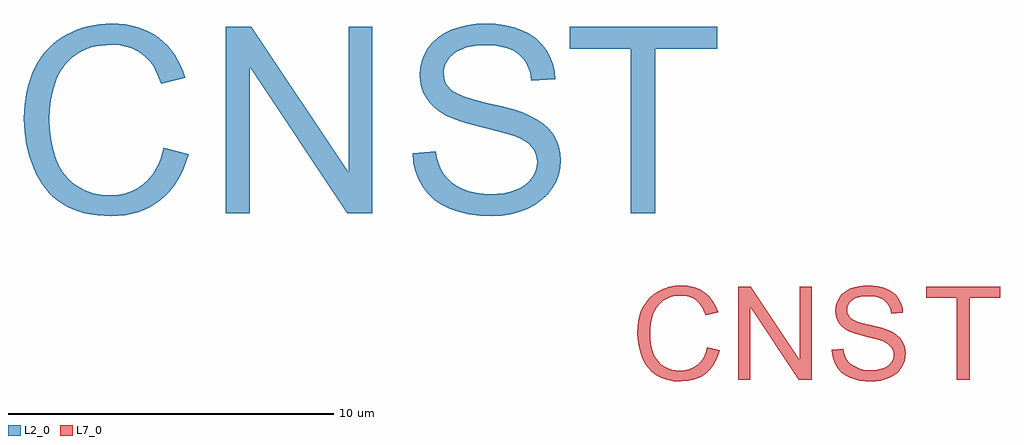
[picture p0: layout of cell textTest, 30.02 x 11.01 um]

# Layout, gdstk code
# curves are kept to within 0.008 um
import gdstk
lib = gdstk.Library(unit=1e-6, precision=1e-09)
def P(c, l, *ps):  # polygons
    for p in ps: c.add(gdstk.Polygon(p, *l))
L2_0 = (2, 0)
L7_0 = (7, 0)

texttest = lib.new_cell('textTest')
P(texttest, L2_0, [(-4.461,1.133),(-4.461,6.867),(-3.68,6.867),(-0.68,2.367),(-0.68,6.867),(0.055,6.867),(0.055,1.133),(-0.727,1.133),(-3.727,5.633),(-3.727,1.133)],
  [(8.008,1.133),(8.008,6.18),(6.117,6.18),(6.117,6.867),(10.664,6.867),(10.664,6.18),(8.758,6.18),(8.758,1.133)],
  [(-7.977,1.039),(-8.202,1.045),(-8.621,1.092),(-8.998,1.186),(-9.333,1.326),(-9.484,1.414),(-9.626,1.513),(-9.883,1.744),(-9.998,1.875),(-10.201,2.17),(-10.367,2.508),(-10.497,2.873),(-10.59,3.25),(-10.646,3.639),(-10.664,4.039),(-10.659,4.258),(-10.617,4.676),(-10.533,5.067),(-10.475,5.252),(-10.407,5.43),(-10.24,5.764),(-10.142,5.917),(-9.918,6.191),(-9.657,6.425),(-9.513,6.526),(-9.359,6.617),(-9.035,6.768),(-8.866,6.827),(-8.516,6.913),(-8.15,6.956),(-7.961,6.961),(-7.548,6.934),(-7.17,6.852),(-6.826,6.715),(-6.666,6.626),(-6.516,6.523),(-6.375,6.408),(-6.246,6.282),(-6.128,6.145),(-6.021,5.996),(-5.843,5.665),(-5.711,5.289),(-6.445,5.117),(-6.558,5.408),(-6.693,5.656),(-6.769,5.764),(-6.938,5.948),(-7.13,6.089),(-7.344,6.195),(-7.459,6.234),(-7.707,6.287),(-7.977,6.305),(-8.141,6.3),(-8.448,6.261),(-8.725,6.183),(-8.853,6.129),(-9.086,5.992),(-9.191,5.911),(-9.378,5.727),(-9.459,5.625),(-9.597,5.4),(-9.703,5.148),(-9.782,4.88),(-9.838,4.605),(-9.872,4.325),(-9.883,4.039),(-9.87,3.69),(-9.83,3.363),(-9.764,3.058),(-9.672,2.773),(-9.552,2.517),(-9.402,2.295),(-9.224,2.107),(-9.016,1.953),(-8.788,1.833),(-8.549,1.748),(-8.299,1.697),(-8.039,1.68),(-7.882,1.685),(-7.587,1.731),(-7.318,1.823),(-7.073,1.961),(-6.856,2.144),(-6.672,2.374),(-6.524,2.649),(-6.463,2.804),(-6.367,3.148),(-5.602,2.945),(-5.75,2.511),(-5.841,2.314),(-5.943,2.131),(-6.057,1.961),(-6.183,1.804),(-6.32,1.661),(-6.469,1.531),(-6.627,1.416),(-6.794,1.316),(-6.97,1.231),(-7.154,1.162),(-7.347,1.108),(-7.548,1.07)],
  [(3.727,1.039),(3.358,1.053),(3.02,1.096),(2.71,1.167),(2.43,1.266),(2.179,1.393),(1.957,1.549),(1.857,1.637),(1.679,1.836),(1.602,1.945),(1.471,2.18),(1.375,2.43),(1.314,2.695),(1.289,2.977),(2.008,3.039),(2.04,2.831),(2.09,2.643),(2.157,2.475),(2.242,2.328),(2.349,2.198),(2.48,2.08),(2.638,1.975),(2.82,1.883),(3.021,1.808),(3.234,1.754),(3.459,1.722),(3.695,1.711),(3.907,1.719),(4.105,1.744),(4.29,1.786),(4.461,1.844),(4.615,1.916),(4.748,2),(4.861,2.096),(4.953,2.203),(5.025,2.319),(5.076,2.439),(5.107,2.565),(5.117,2.695),(5.107,2.824),(5.078,2.945),(5.029,3.059),(4.961,3.164),(4.87,3.261),(4.754,3.348),(4.612,3.425),(4.445,3.492),(4.072,3.609),(3.057,3.866),(2.752,3.957),(2.506,4.046),(2.32,4.133),(2.13,4.249),(1.965,4.377),(1.825,4.518),(1.711,4.672),(1.622,4.836),(1.559,5.01),(1.521,5.192),(1.508,5.383),(1.523,5.598),(1.57,5.805),(1.648,6.004),(1.758,6.195),(1.896,6.372),(2.063,6.525),(2.256,6.657),(2.477,6.766),(2.718,6.851),(2.973,6.912),(3.241,6.949),(3.523,6.961),(3.834,6.948),(4.125,6.91),(4.396,6.847),(4.648,6.758),(4.877,6.644),(5.078,6.506),(5.252,6.343),(5.398,6.156),(5.516,5.95),(5.602,5.729),(5.656,5.493),(5.68,5.242),(4.945,5.195),(4.903,5.452),(4.824,5.674),(4.771,5.772),(4.636,5.943),(4.555,6.016),(4.363,6.135),(4.133,6.221),(4.003,6.251),(3.863,6.272),(3.555,6.289),(3.234,6.273),(2.961,6.227),(2.734,6.148),(2.555,6.039),(2.418,5.907),(2.32,5.762),(2.286,5.684),(2.247,5.518),(2.242,5.43),(2.256,5.281),(2.297,5.148),(2.365,5.031),(2.527,4.879),(2.614,4.828),(2.855,4.725),(3.185,4.621),(4.379,4.318),(4.659,4.23),(4.867,4.148),(5.101,4.024),(5.303,3.885),(5.472,3.731),(5.609,3.563),(5.715,3.38),(5.791,3.186),(5.836,2.978),(5.852,2.758),(5.835,2.528),(5.785,2.307),(5.702,2.094),(5.586,1.891),(5.439,1.702),(5.266,1.535),(5.064,1.39),(4.836,1.266),(4.585,1.167),(4.316,1.096),(4.03,1.053)])
P(texttest, L7_0, [(11.313,-4),(11.313,-1.141),(11.688,-1.141),(13.203,-3.391),(13.203,-1.141),(13.563,-1.141),(13.563,-4),(13.172,-4),(11.672,-1.75),(11.672,-4)],
  [(18.031,-4),(18.031,-1.469),(17.094,-1.469),(17.094,-1.141),(19.359,-1.141),(19.359,-1.469),(18.422,-1.469),(18.422,-4)],
  [(9.547,-4.047),(9.324,-4.035),(9.123,-4),(8.945,-3.941),(8.789,-3.859),(8.653,-3.755),(8.535,-3.629),(8.435,-3.481),(8.352,-3.312),(8.287,-3.13),(8.24,-2.941),(8.212,-2.747),(8.203,-2.547),(8.214,-2.328),(8.246,-2.125),(8.3,-1.937),(8.375,-1.766),(8.47,-1.611),(8.582,-1.477),(8.712,-1.361),(8.859,-1.266),(9.02,-1.19),(9.188,-1.137),(9.363,-1.104),(9.547,-1.094),(9.756,-1.107),(9.947,-1.148),(10.12,-1.217),(10.273,-1.312),(10.408,-1.433),(10.521,-1.574),(10.615,-1.737),(10.688,-1.922),(10.313,-2.016),(10.253,-1.87),(10.184,-1.744),(10.104,-1.639),(10.016,-1.555),(9.916,-1.49),(9.805,-1.443),(9.682,-1.416),(9.547,-1.406),(9.389,-1.417),(9.244,-1.447),(9.112,-1.499),(8.992,-1.57),(8.888,-1.659),(8.801,-1.76),(8.731,-1.874),(8.68,-2),(8.615,-2.27),(8.594,-2.547),(8.619,-2.885),(8.695,-3.18),(8.754,-3.308),(8.828,-3.418),(8.918,-3.511),(9.023,-3.586),(9.139,-3.644),(9.26,-3.686),(9.385,-3.71),(9.516,-3.719),(9.667,-3.708),(9.807,-3.674),(9.936,-3.618),(10.055,-3.539),(10.159,-3.438),(10.244,-3.314),(10.311,-3.168),(10.359,-3),(10.734,-3.094),(10.661,-3.314),(10.564,-3.506),(10.446,-3.669),(10.305,-3.805),(10.143,-3.911),(9.963,-3.986),(9.764,-4.032)],
  [(15.406,-4.047),(15.047,-4.02),(14.891,-3.985),(14.75,-3.937),(14.625,-3.875),(14.514,-3.797),(14.417,-3.703),(14.336,-3.594),(14.271,-3.474),(14.225,-3.348),(14.197,-3.216),(14.188,-3.078),(14.531,-3.047),(14.578,-3.244),(14.613,-3.327),(14.709,-3.462),(14.775,-3.52),(14.945,-3.617),(15.046,-3.655),(15.269,-3.698),(15.391,-3.703),(15.586,-3.687),(15.766,-3.641),(15.846,-3.606),(15.971,-3.521),(16.05,-3.412),(16.089,-3.287),(16.094,-3.219),(16.074,-3.1),(16.016,-2.992),(15.914,-2.896),(15.766,-2.812),(14.918,-2.582),(14.703,-2.5),(14.516,-2.379),(14.445,-2.31),(14.35,-2.153),(14.303,-1.974),(14.304,-1.768),(14.363,-1.564),(14.414,-1.469),(14.48,-1.381),(14.563,-1.305),(14.66,-1.24),(14.773,-1.187),(15.025,-1.117),(15.159,-1.1),(15.449,-1.1),(15.73,-1.151),(15.859,-1.195),(15.977,-1.252),(16.078,-1.32),(16.164,-1.4),(16.234,-1.492),(16.29,-1.593),(16.332,-1.701),(16.375,-1.937),(16.016,-1.969),(15.991,-1.844),(15.949,-1.734),(15.89,-1.641),(15.813,-1.562),(15.717,-1.501),(15.602,-1.457),(15.467,-1.431),(15.313,-1.422),(15.152,-1.43),(15.016,-1.453),(14.902,-1.492),(14.813,-1.547),(14.744,-1.612),(14.695,-1.684),(14.666,-1.761),(14.656,-1.844),(14.663,-1.919),(14.718,-2.052),(14.766,-2.109),(14.842,-2.157),(14.963,-2.205),(15.725,-2.4),(15.969,-2.484),(16.186,-2.621),(16.269,-2.698),(16.336,-2.781),(16.387,-2.871),(16.424,-2.969),(16.453,-3.187),(16.422,-3.414),(16.328,-3.625),(16.258,-3.721),(16.172,-3.805),(16.07,-3.877),(15.953,-3.937),(15.691,-4.02)])

lib.write_gds('textTest.gds')
